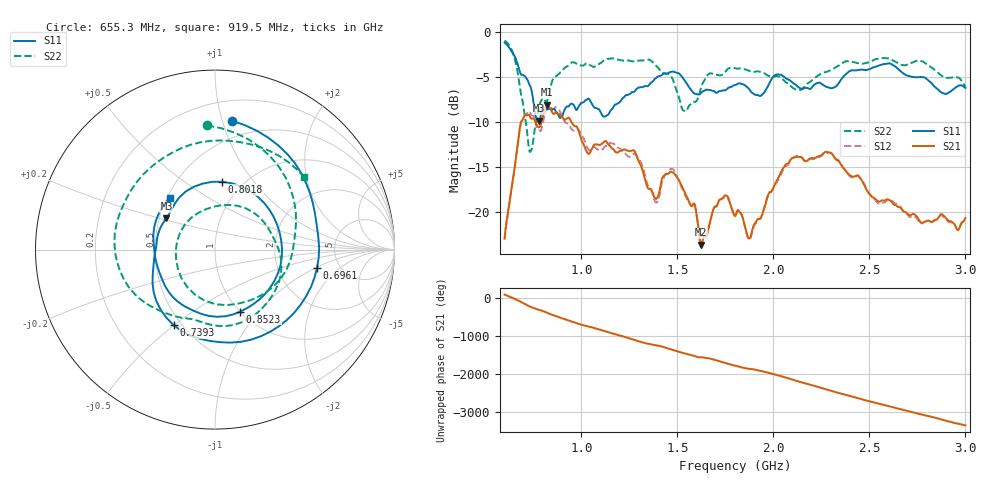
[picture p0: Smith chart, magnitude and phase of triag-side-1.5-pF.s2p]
#  HZ  S  RI  R  50.00
! Rohde & Schwarz ZVB8 2Ports - Version 2.81 - 1145.1010k08 SN: 100113
! Date: 2016-03-12 03:03:34
! Measurements: S11 S21 S12 S22
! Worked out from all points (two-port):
!   1000 points, 600 MHz to 3 GHz, reference 50 ohm
!   highest |S21| = -8.06 dB at 821 MHz (marker M1); lowest = -23.6 dB at 1.621 GHz (marker M2)
!   |S21| within 3 dB of the highest: 676.5 MHz to 986.5 MHz (310 MHz wide, 37.3 % of centre)
!   lowest |S11| = -9.8 dB at 780.2 MHz (marker M3), VSWR 1.95, Z = 27.2 + j10.7 ohm
!   |S11| at or under -10 dB: nowhere
!   |S22| runs from -13.3 to -0.9 dB; largest |S21 - S12| = 0.03
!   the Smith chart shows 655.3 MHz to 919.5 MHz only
!   S11 on the Smith chart (normalised r, x): 655.3 MHz: 0.36, +1.08; 696.1 MHz: 3.40, -1.03; 739.3 MHz: 0.46, -0.50; 801.8 MHz: 0.80, +0.71; 852.3 MHz: 1.00, -0.81; 919.5 MHz: 0.52, +0.35
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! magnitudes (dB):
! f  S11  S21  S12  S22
! 600 MHz  -1.2  -22.9  -23.0  -0.9
! 655.3 MHz  -2.8  -14.6  -14.7  -3.2
! 696.1 MHz  -4.8  -9.6  -9.7  -8.0
! 739.3 MHz  -6.4  -9.6  -9.2  -13.1
! 780.2 MHz  -9.8  -10.6  -10.9  -8.2
! 801.8 MHz  -8.4  -9.2  -9.9  -7.3
! 821 MHz  -8.6  -8.1  -8.3  -7.7
! 852.3 MHz  -8.6  -9.0  -8.5  -5.2
! 919.5 MHz  -8.3  -9.7  -10.1  -3.9
! 1.001 GHz  -7.8  -12.0  -11.5  -3.7
! 1.273 GHz  -6.7  -13.1  -13.5  -3.2
! 1.4 GHz  -4.9  -18.2  -18.7  -4.0
! 1.479 GHz  -4.4  -15.6  -15.2  -5.4
! 1.537 GHz  -5.4  -17.7  -18.0  -8.7
! 1.621 GHz  -6.8  -23.6  -23.8  -6.3
! 1.724 GHz  -6.5  -18.6  -18.6  -4.8
! 1.801 GHz  -5.9  -20.4  -20.4  -4.0
! 1.876 GHz  -6.4  -22.9  -23.0  -4.3
! 2.058 GHz  -5.0  -14.9  -15.1  -5.4
! 2.2 GHz  -6.2  -14.0  -14.1  -5.4
! 2.601 GHz  -3.5  -18.6  -18.6  -2.9
! 3 GHz  -6.2  -20.6  -20.6  -6.1
